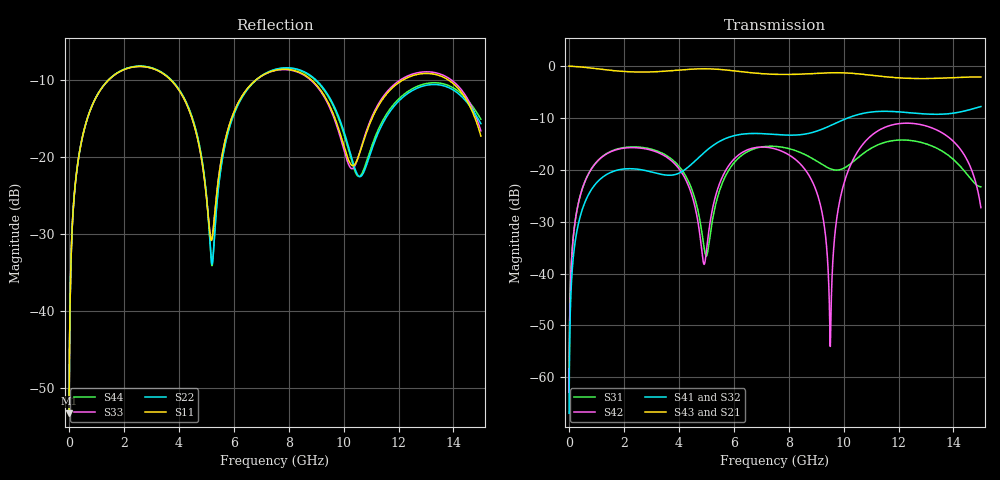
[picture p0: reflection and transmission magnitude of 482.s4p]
! Created with skrf 1.8.0 (http://scikit-rf.org).
# GHz S RI R 50.0
!freq ReS11 ImS11 ReS12 ImS12 ReS13 ImS13
! ReS14 ImS14
! ReS21 ImS21 ReS22 ImS22 ReS23 ImS23
! ReS24 ImS24
! ReS31 ImS31 ReS32 ImS32 ReS33 ImS33
! ReS34 ImS34
! ReS41 ImS41 ReS42 ImS42 ReS43 ImS43
! ReS44 ImS44
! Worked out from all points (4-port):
!   2499 points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, 5 MHz to 15 GHz, reference 50 ohm
!   strongest paths, dB at 5 MHz, 3.476 GHz, 7.19 GHz, 11.1 GHz, 15 GHz:
!     S43: 0.0, -1.0, -1.5, -1.8, -2.1
!     S21: 0.0, -1.0, -1.5, -1.8, -2.1
!     S41: -66.9, -21.0, -13.1, -8.8, -7.8
!     S32: -66.9, -21.0, -13.1, -8.8, -7.8
!     S42: -62.9, -17.3, -15.7, -13.0, -27.3
!     S31: -62.9, -17.0, -15.5, -15.6, -23.3
!   lowest |S11| = -53.3 dB at 5 MHz (marker M1), VSWR 1.00, Z = 50.2 + j0.131 ohm
!   |S11| at or under -10 dB: start of sweep to 1.432 GHz; 3.719 GHz to 6.794 GHz (3.075 GHz wide, 58.5 % of centre); 8.841 GHz to 12.14 GHz (3.303 GHz wide, 31.5 % of centre) (the widest 3 of 4)
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0.005  0.00172 0.0013  0.9982 -0.00335  8.78e-05 0.00071  -8.5e-05 -0.000441
       0.9982 -0.00335  0.00172 0.0013  -8.5e-05 -0.000441  8.77e-05 0.00071
       8.78e-05 0.00071  -8.5e-05 -0.000441  0.00172 0.0013  0.9982 -0.00335
       -8.5e-05 -0.000441  8.77e-05 0.00071  0.9982 -0.00335  0.00172 0.0013
1.619545  0.2963 0.1637  0.485 -0.7634  0.1455 0.0519  -0.0966 0.00527
          0.485 -0.7634  0.2977 0.1627  -0.0966 0.00523  0.1414 0.0584
          0.1455 0.0519  -0.0966 0.00523  0.2962 0.1637  0.4851 -0.7633
          -0.0966 0.00527  0.1414 0.0584  0.4851 -0.7633  0.2976 0.1627
5.20842  0.0289 0.00477  -0.936 -0.0656  -0.00651 0.0301  -0.00672 0.1687
         -0.936 -0.0656  0.0202 -0.000661  -0.00706 0.1687  0.02 0.0345
         -0.00651 0.0301  -0.00706 0.1687  0.0293 0.00515  -0.936 -0.0657
         -0.00672 0.1687  0.02 0.0345  -0.936 -0.0657  0.0197 -0.000354
8.01584  0.3706 -0.0204  -0.0243 0.8291  0.1194 -0.1063  0.2099 -0.0505
         -0.0243 0.8291  0.3803 -0.02  0.2096 -0.0496  0.123 -0.0649
         0.1194 -0.1063  0.2096 -0.0496  0.3684 -0.0215  -0.0249 0.8301
         0.2099 -0.0505  0.123 -0.0649  -0.0249 0.8301  0.3778 -0.0181
9.516465  0.1644 -0.133  0.6385 0.5765  -0.0773 -0.0671  0.1734 -0.2024
          0.6385 0.5765  0.1751 -0.1634  0.1743 -0.2012  -0.00194 -0.000389
          -0.0773 -0.0671  0.1743 -0.2012  0.1591 -0.1303  0.6398 0.5771
          0.1734 -0.2024  -0.00194 -0.000389  0.6398 0.5771  0.173 -0.1579
11.19842  0.173 0.1097  0.771 -0.2375  0.0567 0.1621  -0.1468 -0.3336
          0.771 -0.2375  0.1171 0.0676  -0.1449 -0.3339  0.1884 0.1368
          0.0567 0.1621  -0.1449 -0.3339  0.1746 0.1183  0.7696 -0.2379
          -0.1468 -0.3336  0.1884 0.1368  0.7696 -0.2379  0.1208 0.075
15  0.0944 -0.0994  -0.6121 -0.4927  -0.0634 -0.0262  -0.2445 0.3258
    -0.6121 -0.4927  0.1458 -0.0775  -0.2484 0.3231  -0.00772 -0.0425
    -0.0634 -0.0262  -0.2484 0.3231  0.1001 -0.1092  -0.6058 -0.4977
    -0.2445 0.3258  -0.00772 -0.0425  -0.6058 -0.4977  0.1558 -0.0829
